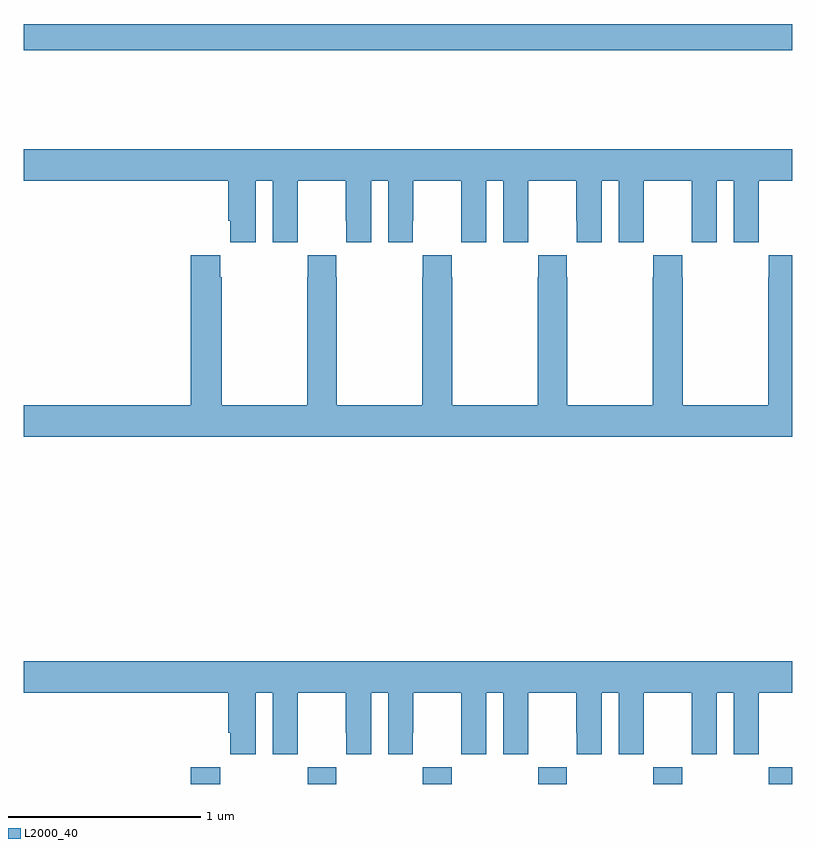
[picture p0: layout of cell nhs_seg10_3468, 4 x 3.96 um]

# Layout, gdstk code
import gdstk
lib = gdstk.Library(unit=1e-6, precision=1e-09)
def R(c, l, rs):  # rectangles x0, y0, x1, y1
    for r in rs: c.add(gdstk.rectangle(r[:2], r[2:], *l))
def A(c, l, x, y, w, h, nx, ny, dx, dy):  # array of equal rectangles
    R(c, l, [(x+i*dx, y+j*dy, x+i*dx+w, y+j*dy+h) for i in range(nx) for j in range(ny)])
def P(c, l, *ps):  # polygons
    for p in ps: c.add(gdstk.Polygon(p, *l))
L2000_40 = (2000, 40)

nhs_seg10_3468 = lib.new_cell('nhs_seg10_3468')
A(nhs_seg10_3468, L2000_40, 300.477, 1306.5, 0.15, 0.088, 4, 1, 0.6, 0)
R(nhs_seg10_3468, L2000_40, [(299.87,1306.5,300.023,1306.588), (302.877,1306.5,303,1306.588), (299,1310.32,303,1310.456)])
P(nhs_seg10_3468, L2000_40, [(299,1309.64),(300.065,1309.64),(300.065,1309.432),(300.074,1309.432),(300.074,1309.32),(300.208,1309.32),(300.208,1309.64),(300.296,1309.64),(300.296,1309.32),(300.426,1309.32),(300.426,1309.432),(300.427,1309.432),(300.427,1309.64),(300.677,1309.64),(300.677,1309.432),(300.678,1309.432),(300.678,1309.32),(300.808,1309.32),(300.808,1309.64),(300.896,1309.64),(300.896,1309.32),(301.026,1309.32),(301.026,1309.432),(301.027,1309.432),(301.027,1309.64),(301.277,1309.64),(301.277,1309.432),(301.278,1309.432),(301.278,1309.32),(301.408,1309.32),(301.408,1309.64),(301.496,1309.64),(301.496,1309.32),(301.626,1309.32),(301.626,1309.432),(301.627,1309.432),(301.627,1309.64),(301.877,1309.64),(301.877,1309.432),(301.878,1309.432),(301.878,1309.32),(302.008,1309.32),(302.008,1309.64),(302.096,1309.64),(302.096,1309.32),(302.226,1309.32),(302.226,1309.432),(302.227,1309.432),(302.227,1309.64),(302.477,1309.64),(302.477,1309.432),(302.478,1309.432),(302.478,1309.32),(302.608,1309.32),(302.608,1309.64),(302.696,1309.64),(302.696,1309.32),(302.826,1309.32),(302.826,1309.432),(302.827,1309.432),(302.827,1309.64),(303,1309.64),(303,1309.804),(299,1309.804)],
  [(303,1309.252),(302.877,1309.252),(302.877,1309.139),(302.875,1309.139),(302.875,1308.472),(302.43,1308.472),(302.43,1309.139),(302.427,1309.139),(302.427,1309.252),(302.277,1309.252),(302.277,1309.139),(302.275,1309.139),(302.275,1308.472),(301.83,1308.472),(301.83,1309.139),(301.827,1309.139),(301.827,1309.252),(301.677,1309.252),(301.677,1309.139),(301.675,1309.139),(301.675,1308.472),(301.23,1308.472),(301.23,1309.139),(301.227,1309.139),(301.227,1309.252),(301.077,1309.252),(301.077,1309.139),(301.075,1309.139),(301.075,1308.472),(300.63,1308.472),(300.63,1309.139),(300.627,1309.139),(300.627,1309.252),(300.477,1309.252),(300.477,1309.139),(300.475,1309.139),(300.475,1308.472),(300.03,1308.472),(300.03,1309.139),(300.023,1309.139),(300.023,1309.252),(299.87,1309.252),(299.87,1308.472),(299,1308.472),(299,1308.308),(303,1308.308)],
  [(300.208,1306.976),(300.296,1306.976),(300.296,1306.656),(300.426,1306.656),(300.426,1306.768),(300.427,1306.768),(300.427,1306.976),(300.677,1306.976),(300.677,1306.768),(300.678,1306.768),(300.678,1306.656),(300.808,1306.656),(300.808,1306.976),(300.896,1306.976),(300.896,1306.656),(301.026,1306.656),(301.026,1306.768),(301.027,1306.768),(301.027,1306.976),(301.277,1306.976),(301.277,1306.768),(301.278,1306.768),(301.278,1306.656),(301.408,1306.656),(301.408,1306.976),(301.496,1306.976),(301.496,1306.656),(301.626,1306.656),(301.626,1306.768),(301.627,1306.768),(301.627,1306.976),(301.877,1306.976),(301.877,1306.768),(301.878,1306.768),(301.878,1306.656),(302.008,1306.656),(302.008,1306.976),(302.096,1306.976),(302.096,1306.656),(302.226,1306.656),(302.226,1306.768),(302.227,1306.768),(302.227,1306.976),(302.477,1306.976),(302.477,1306.768),(302.478,1306.768),(302.478,1306.656),(302.608,1306.656),(302.608,1306.976),(302.696,1306.976),(302.696,1306.656),(302.826,1306.656),(302.826,1306.768),(302.827,1306.768),(302.827,1306.976),(303,1306.976),(303,1307.14),(299,1307.14),(299,1306.976),(300.065,1306.976),(300.065,1306.768),(300.074,1306.768),(300.074,1306.656),(300.208,1306.656)])

lib.write_gds('nhs_seg10_3468.gds')
